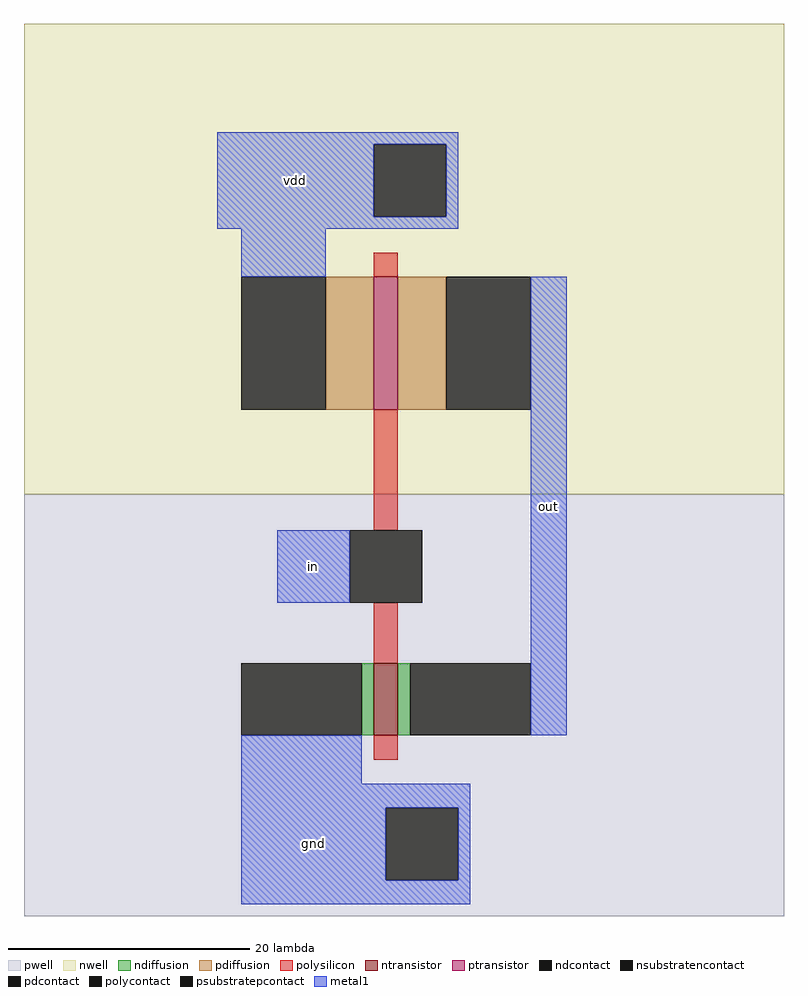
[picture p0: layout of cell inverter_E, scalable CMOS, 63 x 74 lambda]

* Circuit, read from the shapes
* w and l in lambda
.subckt inverter_E gnd vdd out in
M1 out in gnd gnd nfet w=6 l=2
M2 out in vdd vdd pfet w=11 l=2
.ends

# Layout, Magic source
magic
tech scmos
<< nwell >>
rect -27 -11 36 28
<< pwell >>
rect -27 -46 36 -11
<< ntransistor >>
rect 2 -31 4 -25
<< ptransistor >>
rect 2 -4 4 7
<< ndiffusion >>
rect 1 -31 2 -25
rect 4 -31 5 -25
<< pdiffusion >>
rect -2 -4 2 7
rect 4 -4 8 7
<< ndcontact >>
rect -9 -31 1 -25
rect 5 -31 15 -25
<< pdcontact >>
rect -9 -4 -2 7
rect 8 -4 15 7
<< psubstratepcontact >>
rect 3 -43 9 -37
<< nsubstratencontact >>
rect 2 12 8 18
<< polysilicon >>
rect 2 7 4 9
rect 2 -14 4 -4
rect 2 -25 4 -20
rect 2 -33 4 -31
<< polycontact >>
rect 0 -20 6 -14
<< metal1 >>
rect -11 18 9 19
rect -11 12 2 18
rect 8 12 9 18
rect -11 11 9 12
rect -9 7 -2 11
rect -6 -20 0 -14
rect 15 -31 18 7
rect -9 -35 1 -31
rect -9 -37 10 -35
rect -9 -43 3 -37
rect 9 -43 10 -37
rect -9 -45 10 -43
<< labels >>
rlabel metal1 -9 -45 3 -35 0 gnd
port 4 nsew
rlabel metal1 -11 11 2 19 0 vdd
port 5 nsew
rlabel metal1 15 -31 18 7 3 out
port 6 e
rlabel metal1 -6 -20 0 -14 7 in
port 7 w
<< end >>
